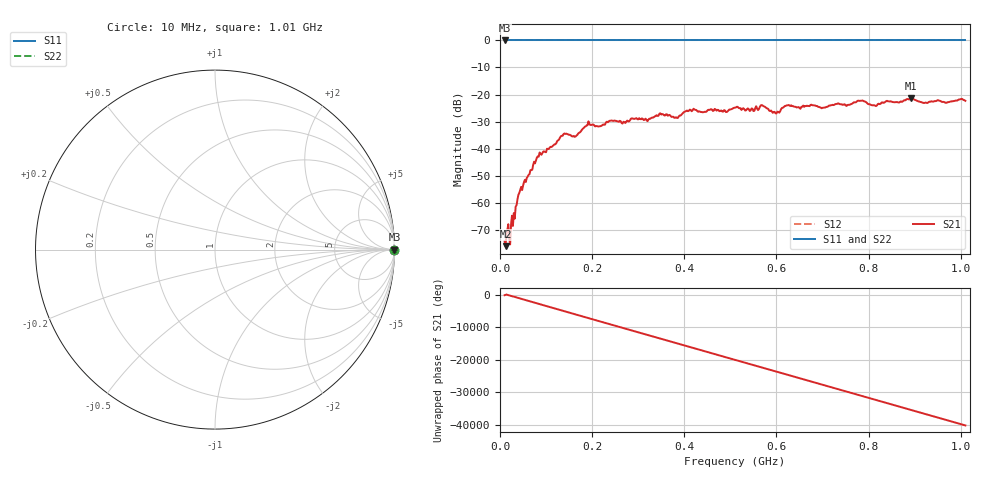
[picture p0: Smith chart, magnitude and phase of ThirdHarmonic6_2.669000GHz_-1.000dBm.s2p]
! 8/17/2025 6:12:11 AM
! C:\ANRITSUVNA\TEMP\TEMP.S2P
! CHANNEL.1
! TR.MEASUREMENT
! RAW.DATA
! RF.CORRECTION.OFF
! AVERAGING.OFF
! IF.BANDWIDTH: 5KHZ
! SWEEPTYPE:  FREQ.SWEEP(Linear)
! Reference Plane Port Info
! PORT:  PORT1  PORT2
! DISTANCE:  0  m  0  m
! TIME:  0  s  0  s
! PHASE.OFFSET:  0  deg.  0  deg.
! LOSS:  0  dB  0  dB
! REF.LOSS:  0  dB  0  dB
! REF.FREQ:  0  Hz  0  Hz
! Power Info
! POWER:  -20  dBm  -20  dBm
! EFF.POWER:  -20  dBm  -20  dBm
! SOURCE.ATTEN:  0  dB  0  dB
! TEST.ATTEN:  0  dB  0  dB
# GHZ S RI R 50.0
! FREQ.GHZ  S11RE  S11IM  S21RE  S21IM  S12RE  S12IM  S22RE  S22IM
!; PortSelection: Port_12
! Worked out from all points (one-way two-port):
!   501 points, 10 MHz to 1.01 GHz, reference 50 ohm
!   highest |S21| = -21.47 dB at 892 MHz (marker M1); lowest = -76.1 dB at 12 MHz (marker M2)
!   lowest |S11| = 0.0 dB at 10 MHz (marker M3)
!   |S11| at or under -10 dB: nowhere
!   |S22| runs from 0.0 to 0.0 dB; largest |S21 - S12| = 1.1
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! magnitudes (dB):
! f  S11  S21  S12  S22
! 10 MHz  0.0  -74.3  0.0  0.0
! 12 MHz  0.0  -76.1  0.0  0.0
! 24 MHz  0.0  -68.1  0.0  0.0
! 42 MHz  0.0  -56.4  0.0  0.0
! 84 MHz  0.0  -43.0  0.0  0.0
! 136 MHz  0.0  -35.3  0.0  0.0
! 162 MHz  0.0  -35.7  0.0  0.0
! 178 MHz  0.0  -33.0  0.0  0.0
! 192 MHz  0.0  -29.9  0.0  0.0
! 344 MHz  0.0  -27.8  0.0  0.0
! 382 MHz  0.0  -28.4  0.0  0.0
! 410 MHz  0.0  -26.0  0.0  0.0
! 510 MHz  0.0  -24.9  0.0  0.0
! 570 MHz  0.0  -24.1  0.0  0.0
! 602 MHz  0.0  -26.3  0.0  0.0
! 622 MHz  0.0  -24.0  0.0  0.0
! 678 MHz  0.0  -24.0  0.0  0.0
! 782 MHz  0.0  -22.3  0.0  0.0
! 814 MHz  0.0  -24.1  0.0  0.0
! 844 MHz  0.0  -22.5  0.0  0.0
! 892 MHz  0.0  -21.5  0.0  0.0
! 1.01 GHz  0.0  -22.3  0.0  0.0
